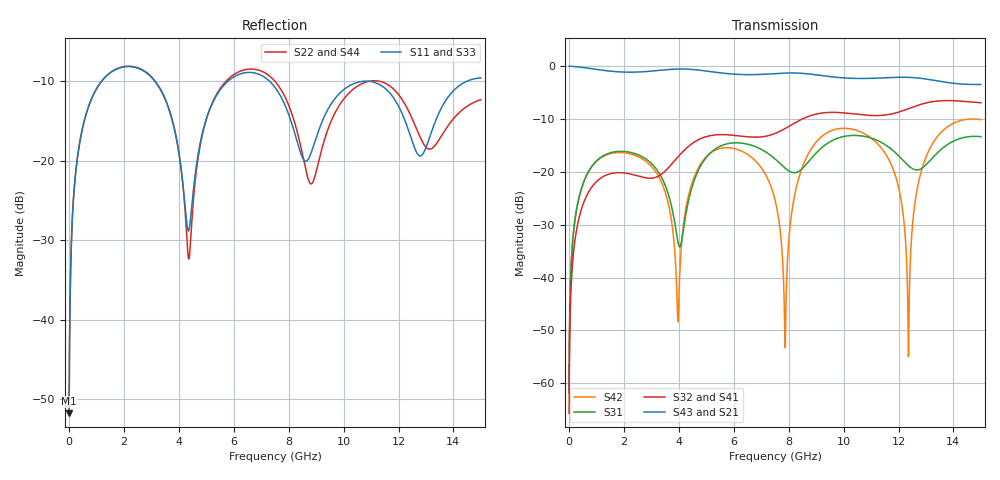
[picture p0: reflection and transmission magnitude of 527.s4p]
! Created with skrf 1.8.0 (http://scikit-rf.org).
# GHz S RI R 50.0
!freq ReS11 ImS11 ReS12 ImS12 ReS13 ImS13
! ReS14 ImS14
! ReS21 ImS21 ReS22 ImS22 ReS23 ImS23
! ReS24 ImS24
! ReS31 ImS31 ReS32 ImS32 ReS33 ImS33
! ReS34 ImS34
! ReS41 ImS41 ReS42 ImS42 ReS43 ImS43
! ReS44 ImS44
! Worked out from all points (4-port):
!   2499 points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, 5 MHz to 15 GHz, reference 50 ohm
!   strongest paths, dB at 5 MHz, 3.476 GHz, 7.19 GHz, 11.1 GHz, 15 GHz:
!     S43: 0.0, -0.7, -1.5, -2.3, -3.5
!     S21: 0.0, -0.7, -1.5, -2.3, -3.4
!     S32: -65.7, -20.0, -13.2, -9.4, -6.9
!     S41: -65.7, -20.0, -13.3, -9.4, -6.9
!     S31: -61.8, -22.2, -16.3, -13.8, -13.4
!     S42: -61.8, -23.4, -20.8, -14.0, -10.1
!   lowest |S11| = -51.8 dB at 5 MHz (marker M1), VSWR 1.01, Z = 50.2 + j0.157 ohm
!   |S11| at or under -10 dB: 3.133 GHz to 5.78 GHz (2.647 GHz wide, 59.4 % of centre); 7.313 GHz to 10.66 GHz (3.349 GHz wide, 37.3 % of centre); 10.97 GHz to 14.47 GHz (3.499 GHz wide, 27.5 % of centre)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
0.005  0.00206 0.00156  0.9979 -0.004  0.000105 0.00081  -0.000101 -0.000509
       0.9979 -0.004  0.00206 0.00156  -0.000101 -0.000509  0.000104 0.00081
       0.000105 0.00081  -0.000101 -0.000509  0.00206 0.00156  0.9979 -0.004
       -0.000101 -0.000509  0.000104 0.00081  0.9979 -0.004  0.00206 0.00156
1.269279  0.2785 0.1754  0.5302 -0.7393  0.1324 0.0535  -0.0907 -0.00328
          0.5302 -0.7393  0.2806 0.1739  -0.0907 -0.00327  0.1261 0.0624
          0.1324 0.0535  -0.0907 -0.00327  0.2785 0.1754  0.5302 -0.7393
          -0.0907 -0.00328  0.1261 0.0624  0.5302 -0.7393  0.2807 0.1739
3.964152  0.0653 -0.104  -0.8749 -0.3382  -0.0186 -0.0117  -0.0453 0.1303
          -0.8749 -0.3382  0.0552 -0.112  -0.0455 0.1303  0.00383 0.000285
          -0.0186 -0.0117  -0.0455 0.1303  0.0645 -0.1049  -0.8748 -0.3382
          -0.0453 0.1303  0.00383 0.000285  -0.8748 -0.3382  0.0564 -0.1122
6.727803  0.3578 -0.0212  -0.0105 0.8302  0.1247 -0.1233  0.2053 -0.054
          -0.0105 0.8302  0.3763 -0.033  0.2057 -0.0544  0.1245 -0.0426
          0.1247 -0.1233  0.2057 -0.0544  0.3578 -0.0189  -0.00987 0.8301
          0.2053 -0.054  0.1245 -0.0426  -0.00987 0.8301  0.3765 -0.0358
11.10463  0.3092 -0.0466  0.1027 -0.7603  0.1646 -0.1206  -0.3383 0.0291
          0.1027 -0.7603  0.319 -0.0196  -0.339 0.0296  0.1813 -0.0809
          0.1646 -0.1206  -0.339 0.0296  0.3099 -0.0444  0.1002 -0.7601
          -0.3383 0.0291  0.1813 -0.0809  0.1002 -0.7601  0.3206 -0.0235
12.3614  0.1366 -0.0763  -0.5428 -0.564  -0.0813 -0.0803  -0.2763 0.2826
         -0.5428 -0.564  0.1713 -0.1163  -0.2757 0.2833  0.00178 2.5e-05
         -0.0813 -0.0803  -0.2757 0.2833  0.1389 -0.0745  -0.545 -0.5615
         -0.2763 0.2826  0.00178 2.5e-05  -0.545 -0.5615  0.1691 -0.1196
15  0.3323 -0.0125  -0.3756 0.558  0.2147 0.00614  0.4211 0.1581
    -0.3756 0.558  0.2427 0.00403  0.4209 0.1584  0.3053 -0.06
    0.2147 0.00614  0.4209 0.1584  0.3377 -0.0112  -0.3697 0.5592
    0.4211 0.1581  0.3053 -0.06  -0.3697 0.5592  0.2489 0.00365
